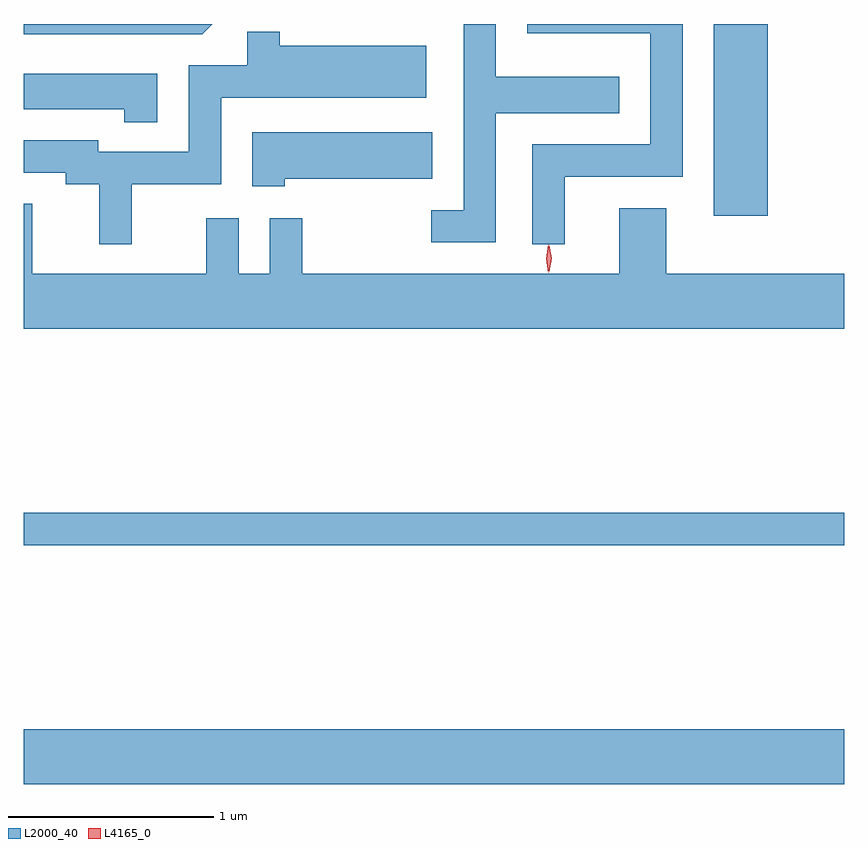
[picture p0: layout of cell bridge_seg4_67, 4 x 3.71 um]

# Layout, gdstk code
import gdstk
lib = gdstk.Library(unit=1e-6, precision=1e-09)
def R(c, l, rs):  # rectangles x0, y0, x1, y1
    for r in rs: c.add(gdstk.rectangle(r[:2], r[2:], *l))
def P(c, l, *ps):  # polygons
    for p in ps: c.add(gdstk.Polygon(p, *l))
L2000_40 = (2000, 40)
L4165_0 = (4165, 0)

bridge_seg4_67 = lib.new_cell('bridge_seg4_67')
R(bridge_seg4_67, L2000_40, [(1675.227,1256.996,1679.227,1257.264), (1675.227,1258.161,1679.227,1258.319), (1678.591,1259.766,1678.854,1260.701)])
P(bridge_seg4_67, L2000_40, [(1677.864,1259.956),(1678.439,1259.956),(1678.439,1260.701),(1677.681,1260.701),(1677.681,1260.656),(1678.281,1260.656),(1678.281,1260.114),(1677.706,1260.114),(1677.706,1259.628),(1677.864,1259.628)],
  [(1676.147,1260.701),(1675.227,1260.701),(1675.227,1260.651),(1676.097,1260.651)],
  [(1677.529,1260.266),(1678.129,1260.266),(1678.129,1260.444),(1677.529,1260.444),(1677.529,1260.701),(1677.371,1260.701),(1677.371,1259.794),(1677.213,1259.794),(1677.213,1259.636),(1677.529,1259.636)],
  [(1675.754,1259.921),(1676.189,1259.921),(1676.189,1260.341),(1677.189,1260.341),(1677.189,1260.594),(1676.474,1260.594),(1676.474,1260.663),(1676.316,1260.663),(1676.316,1260.499),(1676.031,1260.499),(1676.031,1260.079),(1675.589,1260.079),(1675.589,1260.134),(1675.227,1260.134),(1675.227,1259.976),(1675.431,1259.976),(1675.431,1259.921),(1675.596,1259.921),(1675.596,1259.628),(1675.754,1259.628)],
  [(1675.879,1260.459),(1675.227,1260.459),(1675.227,1260.286),(1675.716,1260.286),(1675.716,1260.223),(1675.879,1260.223)],
  [(1676.499,1259.946),(1677.219,1259.946),(1677.219,1260.174),(1676.341,1260.174),(1676.341,1259.911),(1676.499,1259.911)],
  [(1679.227,1259.484),(1678.359,1259.484),(1678.359,1259.804),(1678.131,1259.804),(1678.131,1259.484),(1676.584,1259.484),(1676.584,1259.753),(1676.426,1259.753),(1676.426,1259.484),(1676.274,1259.484),(1676.274,1259.753),(1676.116,1259.753),(1676.116,1259.484),(1675.269,1259.484),(1675.269,1259.824),(1675.227,1259.824),(1675.227,1259.216),(1679.227,1259.216)])
P(bridge_seg4_67, L4165_0, [(1677.783,1259.488),(1677.783,1259.489),(1677.773,1259.557),(1677.783,1259.626),(1677.783,1259.626),(1677.784,1259.626),(1677.793,1259.557),(1677.784,1259.489)],
  [(1677.79,1259.493),(1677.79,1259.494),(1677.78,1259.558),(1677.789,1259.622),(1677.79,1259.622),(1677.79,1259.622),(1677.8,1259.558),(1677.79,1259.494)])

lib.write_gds('bridge_seg4_67.gds')
